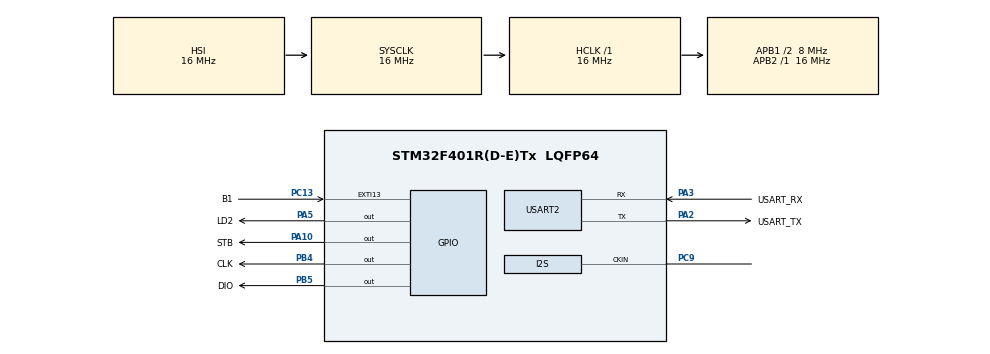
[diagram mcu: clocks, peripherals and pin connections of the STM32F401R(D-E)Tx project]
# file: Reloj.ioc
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Mcu.Family=STM32F4
Mcu.Name=STM32F401R(D-E)Tx
Mcu.Package=LQFP64
NVIC.EXTI15_10_IRQn=true\:0\:0\:false\:false\:true\:true\:true\:true
NVIC.PriorityGroup=NVIC_PRIORITYGROUP_0
NVIC.TIM3_IRQn=true\:0\:0\:false\:false\:true\:true\:true\:true
PA10.GPIO_Label=STB
PA10.Signal=GPIO_Output
PA13.GPIO_Label=TMS
PA13.Mode=Serial_Wire
PA13.Signal=SYS_JTMS-SWDIO
PA14.GPIO_Label=TCK
PA14.Mode=Serial_Wire
PA14.Signal=SYS_JTCK-SWCLK
PA2.GPIO_Label=USART_TX
PA2.GPIO_Mode=GPIO_MODE_AF_PP
PA2.GPIO_PuPd=GPIO_NOPULL
PA2.GPIO_Speed=GPIO_SPEED_FREQ_LOW
PA2.Mode=Asynchronous
PA2.Signal=USART2_TX
PA3.GPIO_Label=USART_RX
PA3.GPIO_Mode=GPIO_MODE_AF_PP
PA3.GPIO_PuPd=GPIO_NOPULL
PA3.GPIO_Speed=GPIO_SPEED_FREQ_LOW
PA3.Mode=Asynchronous
PA3.Signal=USART2_RX
PA5.GPIO_Label=LD2
PA5.GPIO_Mode=GPIO_MODE_OUTPUT_PP
PA5.GPIO_PuPd=GPIO_NOPULL
PA5.GPIO_Speed=GPIO_SPEED_FREQ_LOW
PA5.Signal=GPIO_Output
PB3.GPIO_Label=SWO
PB3.Signal=SYS_JTDO-SWO
PB4.GPIO_Label=CLK
PB4.Signal=GPIO_Output
PB5.GPIO_Label=DIO
PB5.Signal=GPIO_Output
PC13-ANTI_TAMP.GPIO_Label=B1
PC13-ANTI_TAMP.Signal=GPXTI13
PC14-OSC32_IN.Signal=RCC_OSC32_IN
PC15-OSC32_OUT.Signal=RCC_OSC32_OUT
PC9.Mode=Audio_ClockIn
PC9.Signal=I2S_CKIN
PH0\ -\ OSC_IN.Mode=HSE-External-Oscillator
PH0\ -\ OSC_IN.Signal=RCC_OSC_IN
PH1\ -\ OSC_OUT.Mode=HSE-External-Oscillator
PH1\ -\ OSC_OUT.Signal=RCC_OSC_OUT
ProjectManager.HeapSize=0x200
ProjectManager.StackSize=0x400
ProjectManager.TargetToolchain=STM32CubeIDE
RCC.48MHZClocksFreq_Value=48000000
RCC.AHBFreq_Value=16000000
RCC.APB1CLKDivider=RCC_HCLK_DIV2
RCC.APB1Freq_Value=8000000
RCC.APB1TimFreq_Value=16000000
RCC.APB2Freq_Value=16000000
RCC.APB2TimFreq_Value=16000000
RCC.CortexFreq_Value=16000000
RCC.HCLKFreq_Value=16000000
RCC.HSE_VALUE=8000000
RCC.HSI_VALUE=16000000
RCC.LSE_VALUE=32768
RCC.PLLM=4
RCC.PLLN=72
RCC.PLLP=RCC_PLLP_DIV4
RCC.PLLQ=3
RCC.PLLSourceVirtual=RCC_PLLSOURCE_HSE
RCC.SYSCLKFreq_VALUE=16000000
RCC.VCOOutputFreq_Value=144000000
USART2.VirtualMode=VM_ASYNC
VP_TIM3_VS_ClockSourceINT.Mode=Internal
board=NUCLEO-F401RE

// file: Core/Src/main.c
/* USER CODE BEGIN Header */
/**
 ******************************************************************************
 * @file           : main.c
 * @brief          : Main program body
 ******************************************************************************
 * @attention
 *
 * Copyright (c) 2024 STMicroelectronics.
 * All rights reserved.
 *
 * This software is licensed under terms that can be found in the LICENSE file
 * in the root directory of this software component.
 * If no LICENSE file comes with this software, it is provided AS-IS.
 *
 ******************************************************************************
 */
/* USER CODE END Header */
#include "main.h"

/* USER CODE BEGIN Includes */
#include "TM1638.h"
#include <stdio.h>
/* USER CODE END Includes */

TIM_HandleTypeDef htim3;

UART_HandleTypeDef huart2;

void SystemClock_Config(void);
static void MX_GPIO_Init(void);
static void MX_USART2_UART_Init(void);
static void MX_TIM3_Init(void);

/* USER CODE BEGIN 0 */

// Contiene la configuración de pines y puertos para CLK, STB y DIO
TM1638 TM;
uint32_t timer;
/* USER CODE END 0 */

int main(void) {

	/* MCU Configuration--------------------------------------------------------*/

	/* Reset of all peripherals, Initializes the Flash interface and the Systick. */
	HAL_Init();

	/* Configure the system clock */
	SystemClock_Config();

	/* Initialize all configured peripherals */
	MX_GPIO_Init();
	MX_USART2_UART_Init();
	MX_TIM3_Init();
	/* USER CODE BEGIN 2 */
	// Configuración del display TM1638
	TM.clk_port = CLK_GPIO_Port;   // Asigna el puerto del reloj
	TM.clk_pin = CLK_Pin;          // Asigna el pin del reloj
	TM.stb_port = STB_GPIO_Port;   // Asigna el puerto del strobe
	TM.stb_pin = STB_Pin;          // Asigna el pin del strobe
	TM.dio_port = DIO_GPIO_Port;   // Asigna el puerto de datos
	TM.dio_pin = DIO_Pin;          // Asigna el pin de datos

	// Inicialización del display
	tm1638_TurnOn(&TM, 7);         // Enciende el display con brillo máximo (7)
	tm1638_DisplayClear(&TM);       // Limpia el contenido del display

	char buffer[10];                  // Buffer para almacenar texto a mostrar
	unsigned char cronometro[5]={0,0,0,0,0};

	/* USER CODE END 2 */

	/* Infinite loop */
	/* USER CODE BEGIN WHILE */
	// Función para convertir los valores del cronómetro en un array de caracteres
	void ConvertirCronometroACadena(char* buffer, unsigned char* cronometro) {
	    // Asignamos cada dígito al array de caracteres, sumando '0' para convertir el valor numérico a su representación en ASCII
	    buffer[0] = cronometro[3] + '0'; // Decenas de segundos
	    buffer[1] = cronometro[2] + '0'; // Unidades de segundos
	    buffer[2] = cronometro[1] + '0'; // Décimas de segundo
	    buffer[3] = (cronometro[0] / 10) + '0'; // Decenas de centésimas
	    buffer[4] = (cronometro[0] % 10) + '0'; // Unidades de centésimas
	    buffer[5] = '\0'; // Fin de cadena
	}
	timer = HAL_GetTick();
	// Bucle principal del programa
	while (1) {

	    /* La función HAL_GetTick() es buena para evitar bloqueos */
	    if ((HAL_GetTick() - timer) > 10) {    // Cada 10 ms = 1 centésima de segundo
	        cronometro[0]++;                   // Incrementa centésimas
	        if (cronometro[0] > 99) {          // Manejo del desbordamiento de las centésimas
	            cronometro[0] = 0;
	            cronometro[1]++;               // Incrementa décimas
	        }
	        if (cronometro[1] > 9) {           // Manejo del desbordamiento de las décimas
	            cronometro[1] = 0;
	            cronometro[2]++;               // Incrementa segundos
	        }
	        if (cronometro[2] > 9) {           // Manejo del desbordamiento de los segundos
	            cronometro[2] = 0;
	            cronometro[3]++;               // Incrementa decenas de segundos
	        }
	        if (cronometro[3] > 9) {           // Manejo del desbordamiento de decenas de segundos
	            cronometro[3] = 0;
	            cronometro[4]++;
	        }if(cronometro[4] > 9){
	        	cronometro[4] = 0;
	        }

	        timer = HAL_GetTick();             // Reinicia el temporizador
	    }
		//sprintf(buffer, "%d%d%d%02d", cronometro[3],cronometro[2],cronometro[1],cronometro[0]);   // Formatea la posición
		ConvertirCronometroACadena(buffer,cronometro);
		tm1638_DisplayTxt(&TM, buffer);    // Muestra la posición actual
	}
	/* USER CODE END WHILE */

}

void SystemClock_Config(void) {
	RCC_OscInitTypeDef RCC_OscInitStruct = { 0 };
	RCC_ClkInitTypeDef RCC_ClkInitStruct = { 0 };

	/** Configure the main internal regulator output voltage
	 */
	__HAL_RCC_PWR_CLK_ENABLE();
	__HAL_PWR_VOLTAGESCALING_CONFIG(PWR_REGULATOR_VOLTAGE_SCALE2);

	/** Initializes the RCC Oscillators according to the specified parameters
	 * in the RCC_OscInitTypeDef structure.
	 */
	RCC_OscInitStruct.OscillatorType = RCC_OSCILLATORTYPE_HSI;
	RCC_OscInitStruct.HSIState = RCC_HSI_ON;
	RCC_OscInitStruct.HSICalibrationValue = RCC_HSICALIBRATION_DEFAULT;
	RCC_OscInitStruct.PLL.PLLState = RCC_PLL_NONE;
	if (HAL_RCC_OscConfig(&RCC_OscInitStruct) != HAL_OK) {
		Error_Handler();
	}

	/** Initializes the CPU, AHB and APB buses clocks
	 */
	RCC_ClkInitStruct.ClockType = RCC_CLOCKTYPE_HCLK | RCC_CLOCKTYPE_SYSCLK
			| RCC_CLOCKTYPE_PCLK1 | RCC_CLOCKTYPE_PCLK2;
	RCC_ClkInitStruct.SYSCLKSource = RCC_SYSCLKSOURCE_HSI;
	RCC_ClkInitStruct.AHBCLKDivider = RCC_SYSCLK_DIV1;
	RCC_ClkInitStruct.APB1CLKDivider = RCC_HCLK_DIV2;
	RCC_ClkInitStruct.APB2CLKDivider = RCC_HCLK_DIV1;

	if (HAL_RCC_ClockConfig(&RCC_ClkInitStruct, FLASH_LATENCY_0) != HAL_OK) {
		Error_Handler();
	}
}

static void MX_TIM3_Init(void) {

	TIM_ClockConfigTypeDef sClockSourceConfig = { 0 };
	TIM_MasterConfigTypeDef sMasterConfig = { 0 };

	htim3.Instance = TIM3;
	htim3.Init.Prescaler = 0;
	htim3.Init.CounterMode = TIM_COUNTERMODE_UP;
	htim3.Init.Period = 65535;
	htim3.Init.ClockDivision = TIM_CLOCKDIVISION_DIV1;
	htim3.Init.AutoReloadPreload = TIM_AUTORELOAD_PRELOAD_DISABLE;
	if (HAL_TIM_Base_Init(&htim3) != HAL_OK) {
		Error_Handler();
	}
	sClockSourceConfig.ClockSource = TIM_CLOCKSOURCE_INTERNAL;
	if (HAL_TIM_ConfigClockSource(&htim3, &sClockSourceConfig) != HAL_OK) {
		Error_Handler();
	}
	sMasterConfig.MasterOutputTrigger = TIM_TRGO_RESET;
	sMasterConfig.MasterSlaveMode = TIM_MASTERSLAVEMODE_DISABLE;
	if (HAL_TIMEx_MasterConfigSynchronization(&htim3, &sMasterConfig)
			!= HAL_OK) {
		Error_Handler();
	}

}

static void MX_USART2_UART_Init(void) {

	huart2.Instance = USART2;
	huart2.Init.BaudRate = 115200;
	huart2.Init.WordLength = UART_WORDLENGTH_8B;
	huart2.Init.StopBits = UART_STOPBITS_1;
	huart2.Init.Parity = UART_PARITY_NONE;
	huart2.Init.Mode = UART_MODE_TX_RX;
	huart2.Init.HwFlowCtl = UART_HWCONTROL_NONE;
	huart2.Init.OverSampling = UART_OVERSAMPLING_16;
	if (HAL_UART_Init(&huart2) != HAL_OK) {
		Error_Handler();
	}

}

static void MX_GPIO_Init(void) {
	GPIO_InitTypeDef GPIO_InitStruct = { 0 };

	/* GPIO Ports Clock Enable */
	__HAL_RCC_GPIOC_CLK_ENABLE();
	__HAL_RCC_GPIOH_CLK_ENABLE();
	__HAL_RCC_GPIOA_CLK_ENABLE();
	__HAL_RCC_GPIOB_CLK_ENABLE();

	/*Configure GPIO pin Output Level */
	HAL_GPIO_WritePin(GPIOA, LD2_Pin | STB_Pin, GPIO_PIN_RESET);

	/*Configure GPIO pin Output Level */
	HAL_GPIO_WritePin(GPIOB, CLK_Pin | DIO_Pin, GPIO_PIN_RESET);

	/*Configure GPIO pin : B1_Pin */
	GPIO_InitStruct.Pin = B1_Pin;
	GPIO_InitStruct.Mode = GPIO_MODE_IT_RISING;
	GPIO_InitStruct.Pull = GPIO_NOPULL;
	HAL_GPIO_Init(B1_GPIO_Port, &GPIO_InitStruct);

	/*Configure GPIO pins : LD2_Pin STB_Pin */
	GPIO_InitStruct.Pin = LD2_Pin | STB_Pin;
	GPIO_InitStruct.Mode = GPIO_MODE_OUTPUT_PP;
	GPIO_InitStruct.Pull = GPIO_NOPULL;
	GPIO_InitStruct.Speed = GPIO_SPEED_FREQ_LOW;
	HAL_GPIO_Init(GPIOA, &GPIO_InitStruct);

	/*Configure GPIO pin : PC9 */
	GPIO_InitStruct.Pin = GPIO_PIN_9;
	GPIO_InitStruct.Mode = GPIO_MODE_AF_PP;
	GPIO_InitStruct.Pull = GPIO_NOPULL;
	GPIO_InitStruct.Speed = GPIO_SPEED_FREQ_LOW;
	GPIO_InitStruct.Alternate = GPIO_AF5_SPI1;
	HAL_GPIO_Init(GPIOC, &GPIO_InitStruct);

	/*Configure GPIO pins : CLK_Pin DIO_Pin */
	GPIO_InitStruct.Pin = CLK_Pin | DIO_Pin;
	GPIO_InitStruct.Mode = GPIO_MODE_OUTPUT_PP;
	GPIO_InitStruct.Pull = GPIO_NOPULL;
	GPIO_InitStruct.Speed = GPIO_SPEED_FREQ_LOW;
	HAL_GPIO_Init(GPIOB, &GPIO_InitStruct);

	/* EXTI interrupt init*/
	HAL_NVIC_SetPriority(EXTI15_10_IRQn, 0, 0);
	HAL_NVIC_EnableIRQ(EXTI15_10_IRQn);

}

void Error_Handler(void) {
	__disable_irq();
	while (1) {
	}
}
